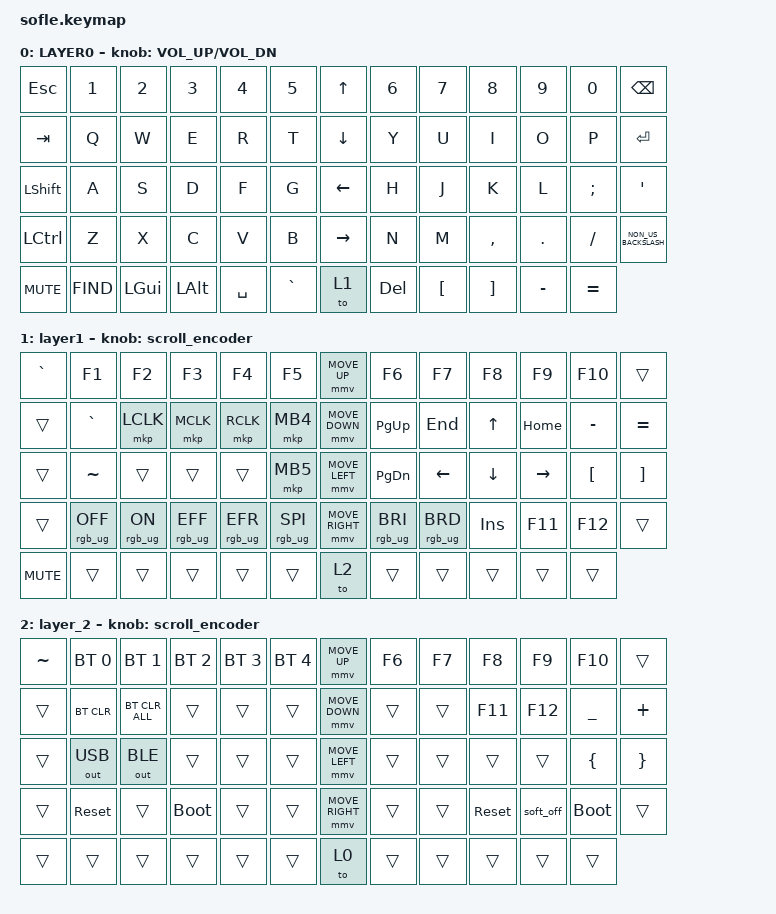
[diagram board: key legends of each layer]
#include <behaviors/mouse_keys.dtsi>
#include <behaviors.dtsi>
#include <dt-bindings/zmk/bt.h>
#include <dt-bindings/zmk/keys.h>
#include <dt-bindings/zmk/mouse.h>
#include <dt-bindings/zmk/outputs.h>
#include <dt-bindings/zmk/rgb.h>

#define ZMK_MOUSE_DEFAULT_MOVE_VAL 1200  // 600
#define ZMK_MOUSE_DEFAULT_SCRL_VAL 20    // 10
#define U_MS_U &mmv MOVE_UP
#define U_MS_D &mmv MOVE_DOWN
#define U_MS_L &mmv MOVE_LEFT
#define U_MS_R &mmv MOVE_RIGHT
#define ZMK_MOUSE_DEFAULT_MOVE_VAL 1200  //  600
#define ZMK_MOUSE_DEFAULT_SCRL_VAL 20    // 10

/ {
    behaviors {
        mmv {
            acceleration-exponent = <1>;      // 1
            time-to-max-speed-ms = <900>;    // 40
            delay-ms = <0>;                   // 0
        };

        msc {
            acceleration-exponent = <1>;      // 0
            time-to-max-speed-ms = <400>;      // 500
            delay-ms = <0>;                   //   10
        };
    };

    scroll_encoder: scroll_encoder {
        compatible = "zmk,behavior-sensor-rotate";
        #sensor-binding-cells = <0>;
        bindings = <&msc SCRL_DOWN>, <&msc SCRL_UP>;

        tap-ms = <30>;
    };

    combos {
        compatible = "zmk,combos";

        f1 {
            bindings = <&kp F1>;
            key-positions = <53 0>;
            layers = <0>;
        };

        f2 {
            bindings = <&kp F2>;
            key-positions = <53 1>;
            layers = <0>;
        };

        f3 {
            bindings = <&kp F3>;
            key-positions = <53 2>;
            layers = <0>;
        };

        f4 {
            bindings = <&kp F4>;
            key-positions = <53 3>;
            layers = <0>;
        };

        f5 {
            bindings = <&kp F5>;
            key-positions = <53 4>;
            layers = <0>;
        };

        f6 {
            bindings = <&kp F6>;
            key-positions = <53 5>;
            layers = <0>;
        };

        f7 {
            bindings = <&kp F7>;
            key-positions = <53 7>;
            layers = <0>;
        };

        f8 {
            bindings = <&kp F8>;
            key-positions = <53 8>;
            layers = <0>;
        };

        f9 {
            bindings = <&kp F9>;
            key-positions = <53 9>;
            layers = <0>;
        };

        f10 {
            bindings = <&kp F10>;
            key-positions = <53 10>;
            layers = <0>;
        };

        f11 {
            bindings = <&kp F11>;
            key-positions = <53 11>;
            layers = <0>;
        };

        f12 {
            bindings = <&kp F12>;
            key-positions = <53 12>;
            layers = <0>;
        };
    };

    keymap {
        compatible = "zmk,keymap";

        layer0 {
            bindings = <
&kp ESC           &kp N1      &kp N2        &kp N3        &kp N4     &kp N5       &kp UP_ARROW     &kp N6   &kp N7            &kp N8             &kp N9     &kp N0     &kp BACKSPACE
&kp TAB           &kp Q       &kp W         &kp E         &kp R      &kp T        &kp DOWN_ARROW   &kp Y    &kp U             &kp I              &kp O      &kp P      &kp ENTER
&kp LEFT_SHIFT    &kp A       &kp S         &kp D         &kp F      &kp G        &kp LEFT_ARROW   &kp H    &kp J             &kp K              &kp L      &kp SEMI   &kp APOS
&kp LEFT_CONTROL  &kp Z       &kp X         &kp C         &kp V      &kp B        &kp RIGHT_ARROW  &kp N    &kp M             &kp COMMA          &kp DOT    &kp FSLH   &kp NON_US_BACKSLASH
&kp C_MUTE        &kp K_FIND  &kp LEFT_GUI  &kp LEFT_ALT  &kp SPACE  &kp GRAVE    &to 1            &kp DEL  &kp LEFT_BRACKET  &kp RIGHT_BRACKET  &kp MINUS  &kp EQUAL
            >;

            sensor-bindings = <&inc_dec_kp C_VOLUME_UP C_VOL_DN>;
            display-name = "LAYER0";
        };

        layer_1 {
            bindings = <
&kp GRAVE   &kp F1           &kp F2          &kp F3           &kp F4           &kp F5             &mmv MOVE_UP     &kp F6           &kp F7           &kp F8      &kp F9     &kp F10           &trans
&trans      &kp GRAVE        &mkp LCLK       &mkp MCLK        &mkp RCLK        &mkp MB4           &mmv MOVE_DOWN   &kp PG_UP        &kp END          &kp UP      &kp HOME   &kp MINUS         &kp EQUAL
&trans      &kp TILDE        &trans          &trans           &trans           &mkp MB5           &mmv MOVE_LEFT   &kp PG_DN        &kp LEFT         &kp DOWN    &kp RIGHT  &kp LEFT_BRACKET  &kp RIGHT_BRACKET
&trans      &rgb_ug RGB_OFF  &rgb_ug RGB_ON  &rgb_ug RGB_EFF  &rgb_ug RGB_EFR  &rgb_ug RGB_SPI    &mmv MOVE_RIGHT  &rgb_ug RGB_BRI  &rgb_ug RGB_BRD  &kp INSERT  &kp F11    &kp F12           &trans
&kp C_MUTE  &trans           &trans          &trans           &trans           &trans             &to 2            &trans           &trans           &trans      &trans     &trans
            >;

            display-name = "layer1";
            sensor-bindings = <&scroll_encoder>;
        };

        layer_2 {
            bindings = <
&kp TILDE  &bt BT_SEL 0  &bt BT_SEL 1    &bt BT_SEL 2  &bt BT_SEL 3  &bt BT_SEL 4    &mmv MOVE_UP     &kp F6  &kp F7  &kp F8      &kp F9     &kp F10      &trans
&trans     &bt BT_CLR    &bt BT_CLR_ALL  &trans        &trans        &trans          &mmv MOVE_DOWN   &trans  &trans  &kp F11     &kp F12    &kp UNDER    &kp PLUS
&trans     &out OUT_USB  &out OUT_BLE    &trans        &trans        &trans          &mmv MOVE_LEFT   &trans  &trans  &trans      &trans     &kp LBRC     &kp RBRC
&trans     &sys_reset    &trans          &bootloader   &trans        &trans          &mmv MOVE_RIGHT  &trans  &trans  &sys_reset  &soft_off  &bootloader  &trans
&trans     &trans        &trans          &trans        &trans        &trans          &to 0            &trans  &trans  &trans      &trans     &trans
            >;

            sensor-bindings = <&scroll_encoder>;
        };
    };
};
